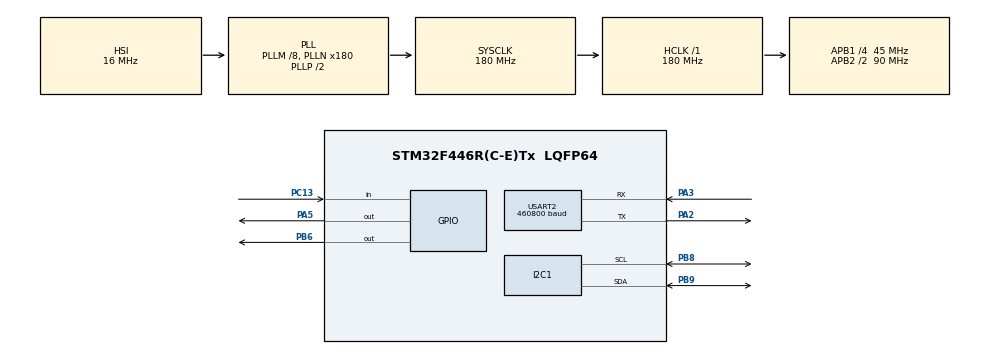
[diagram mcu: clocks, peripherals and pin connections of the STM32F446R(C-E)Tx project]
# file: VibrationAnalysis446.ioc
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Dma.MEMTOMEM.1.Direction=DMA_MEMORY_TO_MEMORY
Dma.MEMTOMEM.1.FIFOMode=DMA_FIFOMODE_ENABLE
Dma.MEMTOMEM.1.FIFOThreshold=DMA_FIFO_THRESHOLD_FULL
Dma.MEMTOMEM.1.Instance=DMA2_Stream0
Dma.MEMTOMEM.1.MemBurst=DMA_MBURST_SINGLE
Dma.MEMTOMEM.1.MemDataAlignment=DMA_MDATAALIGN_BYTE
Dma.MEMTOMEM.1.MemInc=DMA_MINC_ENABLE
Dma.MEMTOMEM.1.Mode=DMA_NORMAL
Dma.MEMTOMEM.1.PeriphBurst=DMA_PBURST_SINGLE
Dma.MEMTOMEM.1.PeriphDataAlignment=DMA_PDATAALIGN_BYTE
Dma.MEMTOMEM.1.PeriphInc=DMA_PINC_ENABLE
Dma.MEMTOMEM.1.Priority=DMA_PRIORITY_LOW
Dma.Request0=USART2_TX
Dma.Request1=MEMTOMEM
Dma.USART2_TX.0.Direction=DMA_MEMORY_TO_PERIPH
Dma.USART2_TX.0.FIFOMode=DMA_FIFOMODE_DISABLE
Dma.USART2_TX.0.Instance=DMA1_Stream6
Dma.USART2_TX.0.MemDataAlignment=DMA_MDATAALIGN_BYTE
Dma.USART2_TX.0.MemInc=DMA_MINC_ENABLE
Dma.USART2_TX.0.Mode=DMA_NORMAL
Dma.USART2_TX.0.PeriphDataAlignment=DMA_PDATAALIGN_BYTE
Dma.USART2_TX.0.PeriphInc=DMA_PINC_DISABLE
Dma.USART2_TX.0.Priority=DMA_PRIORITY_LOW
I2C1.I2C_Mode=I2C_Fast
Mcu.Family=STM32F4
Mcu.Name=STM32F446R(C-E)Tx
Mcu.Package=LQFP64
NVIC.DMA1_Stream6_IRQn=true\:0\:0\:false\:false\:true\:false\:true
NVIC.DMA2_Stream0_IRQn=true\:0\:0\:false\:false\:true\:true\:true
NVIC.PriorityGroup=NVIC_PRIORITYGROUP_4
NVIC.USART2_IRQn=true\:0\:0\:false\:false\:true\:true\:true
PA2.Mode=Asynchronous
PA2.Signal=USART2_TX
PA3.Mode=Asynchronous
PA3.Signal=USART2_RX
PA5.Signal=GPIO_Output
PB6.GPIO_Speed=GPIO_SPEED_FREQ_VERY_HIGH
PB6.Signal=GPIO_Output
PB8.Mode=I2C
PB8.Signal=I2C1_SCL
PB9.Mode=I2C
PB9.Signal=I2C1_SDA
PC13.Signal=GPIO_Input
ProjectManager.HeapSize=0x200
ProjectManager.StackSize=0x400
ProjectManager.TargetToolchain=STM32CubeIDE
RCC.AHBFreq_Value=180000000
RCC.APB1CLKDivider=RCC_HCLK_DIV4
RCC.APB1Freq_Value=45000000
RCC.APB1TimFreq_Value=90000000
RCC.APB2CLKDivider=RCC_HCLK_DIV2
RCC.APB2Freq_Value=90000000
RCC.APB2TimFreq_Value=180000000
RCC.CortexFreq_Value=180000000
RCC.HCLKFreq_Value=180000000
RCC.PLLM=8
RCC.PLLN=180
RCC.SYSCLKFreq_VALUE=180000000
RCC.SYSCLKSource=RCC_SYSCLKSOURCE_PLLCLK
RCC.USBFreq_Value=180000000
RCC.VCOOutputFreq_Value=360000000
TIM2.Prescaler=89
USART2.BaudRate=460800
USART2.VirtualMode=VM_ASYNC
VP_TIM2_VS_ClockSourceINT.Mode=Internal
board=custom

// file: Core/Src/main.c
/* USER CODE BEGIN Header */
/**
  ******************************************************************************
  * @file           : main.c
  * @brief          : Main program body
  ******************************************************************************
  * @attention
  *
  * <h2><center>&copy; Copyright (c) 2020 STMicroelectronics.
  * All rights reserved.</center></h2>
  *
  * This software component is licensed by ST under BSD 3-Clause license,
  * the "License"; You may not use this file except in compliance with the
  * License. You may obtain a copy of the License at:
  *                        opensource.org/licenses/BSD-3-Clause
  *
  ******************************************************************************
  */
/* USER CODE END Header */
#include "main.h"
#include "dma.h"
#include "i2c.h"
#include "tim.h"
#include "usart.h"
#include "gpio.h"

/* USER CODE BEGIN PTD */
typedef union WordByte{
	int16_t Word;
	struct{
		uint8_t LowerByte;
		uint8_t UpperByte;
	};

}WordByte_t;

typedef struct Sample{
	WordByte_t x;
	WordByte_t y;
	WordByte_t z;
	uint32_t micros;
}Sample_t;

typedef enum capturestate{
	CAPTURESTATE_IDLE = 0,
	CAPTURESTATE_CAPTURING,
	CAPTURESTATE_TRIGGERED,
	CAPTURESTATE_TRANSMITTING
}capturestate_t;
/* USER CODE END PTD */

/* USER CODE BEGIN PD */
#define LSM6DS3_ADDRESS            0x6A

#define LSM6DS3_WHO_AM_I_REG       0X0F
#define LSM6DS3_CTRL1_XL           0X10
#define LSM6DS3_CTRL2_G            0X11

#define LSM6DS3_STATUS_REG         0X1E

#define LSM6DS3_CTRL6_C            0X15
#define LSM6DS3_CTRL7_G            0X16
#define LSM6DS3_CTRL8_XL           0X17

#define LSM6DS3_OUTX_L_G           0X22
#define LSM6DS3_OUTX_H_G           0X23
#define LSM6DS3_OUTY_L_G           0X24
#define LSM6DS3_OUTY_H_G           0X25
#define LSM6DS3_OUTZ_L_G           0X26
#define LSM6DS3_OUTZ_H_G           0X27

#define LSM6DS3_OUTX_L_XL          0X28
#define LSM6DS3_OUTX_H_XL          0X29
#define LSM6DS3_OUTY_L_XL          0X2A
#define LSM6DS3_OUTY_H_XL          0X2B
#define LSM6DS3_OUTZ_L_XL          0X2C
#define LSM6DS3_OUTZ_H_XL          0X2D

#define MPU6050_ADDRESS_AD0_LOW     0x68 // address pin low (GND), default for InvenSense evaluation board
#define MPU6050_ADDRESS_AD0_HIGH    0x69 // address pin high (VCC)
#define MPU6050_DEFAULT_ADDRESS     MPU6050_ADDRESS_AD0_LOW

#define MPU6050_RA_XG_OFFS_TC       0x00 //[7] PWR_MODE, [6:1] XG_OFFS_TC, [0] OTP_BNK_VLD
#define MPU6050_RA_YG_OFFS_TC       0x01 //[7] PWR_MODE, [6:1] YG_OFFS_TC, [0] OTP_BNK_VLD
#define MPU6050_RA_ZG_OFFS_TC       0x02 //[7] PWR_MODE, [6:1] ZG_OFFS_TC, [0] OTP_BNK_VLD
#define MPU6050_RA_X_FINE_GAIN      0x03 //[7:0] X_FINE_GAIN
#define MPU6050_RA_Y_FINE_GAIN      0x04 //[7:0] Y_FINE_GAIN
#define MPU6050_RA_Z_FINE_GAIN      0x05 //[7:0] Z_FINE_GAIN
#define MPU6050_RA_XA_OFFS_H        0x06 //[15:0] XA_OFFS
#define MPU6050_RA_XA_OFFS_L_TC     0x07
#define MPU6050_RA_YA_OFFS_H        0x08 //[15:0] YA_OFFS
#define MPU6050_RA_YA_OFFS_L_TC     0x09
#define MPU6050_RA_ZA_OFFS_H        0x0A //[15:0] ZA_OFFS
#define MPU6050_RA_ZA_OFFS_L_TC     0x0B
#define MPU6050_RA_SELF_TEST_X      0x0D //[7:5] XA_TEST[4-2], [4:0] XG_TEST[4-0]
#define MPU6050_RA_SELF_TEST_Y      0x0E //[7:5] YA_TEST[4-2], [4:0] YG_TEST[4-0]
#define MPU6050_RA_SELF_TEST_Z      0x0F //[7:5] ZA_TEST[4-2], [4:0] ZG_TEST[4-0]
#define MPU6050_RA_SELF_TEST_A      0x10 //[5:4] XA_TEST[1-0], [3:2] YA_TEST[1-0], [1:0] ZA_TEST[1-0]
#define MPU6050_RA_XG_OFFS_USRH     0x13 //[15:0] XG_OFFS_USR
#define MPU6050_RA_XG_OFFS_USRL     0x14
#define MPU6050_RA_YG_OFFS_USRH     0x15 //[15:0] YG_OFFS_USR
#define MPU6050_RA_YG_OFFS_USRL     0x16
#define MPU6050_RA_ZG_OFFS_USRH     0x17 //[15:0] ZG_OFFS_USR
#define MPU6050_RA_ZG_OFFS_USRL     0x18
#define MPU6050_RA_SMPLRT_DIV       0x19
#define MPU6050_RA_CONFIG           0x1A
#define MPU6050_RA_GYRO_CONFIG      0x1B
#define MPU6050_RA_ACCEL_CONFIG     0x1C
#define MPU6050_RA_FF_THR           0x1D
#define MPU6050_RA_FF_DUR           0x1E
#define MPU6050_RA_MOT_THR          0x1F
#define MPU6050_RA_MOT_DUR          0x20
#define MPU6050_RA_ZRMOT_THR        0x21
#define MPU6050_RA_ZRMOT_DUR        0x22
#define MPU6050_RA_FIFO_EN          0x23
#define MPU6050_RA_I2C_MST_CTRL     0x24
#define MPU6050_RA_I2C_SLV0_ADDR    0x25
#define MPU6050_RA_I2C_SLV0_REG     0x26
#define MPU6050_RA_I2C_SLV0_CTRL    0x27
#define MPU6050_RA_I2C_SLV1_ADDR    0x28
#define MPU6050_RA_I2C_SLV1_REG     0x29
#define MPU6050_RA_I2C_SLV1_CTRL    0x2A
#define MPU6050_RA_I2C_SLV2_ADDR    0x2B
#define MPU6050_RA_I2C_SLV2_REG     0x2C
#define MPU6050_RA_I2C_SLV2_CTRL    0x2D
#define MPU6050_RA_I2C_SLV3_ADDR    0x2E
#define MPU6050_RA_I2C_SLV3_REG     0x2F
#define MPU6050_RA_I2C_SLV3_CTRL    0x30
#define MPU6050_RA_I2C_SLV4_ADDR    0x31
#define MPU6050_RA_I2C_SLV4_REG     0x32
#define MPU6050_RA_I2C_SLV4_DO      0x33
#define MPU6050_RA_I2C_SLV4_CTRL    0x34
#define MPU6050_RA_I2C_SLV4_DI      0x35
#define MPU6050_RA_I2C_MST_STATUS   0x36
#define MPU6050_RA_INT_PIN_CFG      0x37
#define MPU6050_RA_INT_ENABLE       0x38
#define MPU6050_RA_DMP_INT_STATUS   0x39
#define MPU6050_RA_INT_STATUS       0x3A
#define MPU6050_RA_ACCEL_XOUT_H     0x3B
#define MPU6050_RA_ACCEL_XOUT_L     0x3C
#define MPU6050_RA_ACCEL_YOUT_H     0x3D
#define MPU6050_RA_ACCEL_YOUT_L     0x3E
#define MPU6050_RA_ACCEL_ZOUT_H     0x3F
#define MPU6050_RA_ACCEL_ZOUT_L     0x40
#define MPU6050_RA_TEMP_OUT_H       0x41
#define MPU6050_RA_TEMP_OUT_L       0x42
#define MPU6050_RA_GYRO_XOUT_H      0x43
#define MPU6050_RA_GYRO_XOUT_L      0x44
#define MPU6050_RA_GYRO_YOUT_H      0x45
#define MPU6050_RA_GYRO_YOUT_L      0x46
#define MPU6050_RA_GYRO_ZOUT_H      0x47
#define MPU6050_RA_GYRO_ZOUT_L      0x48
#define MPU6050_RA_EXT_SENS_DATA_00 0x49
#define MPU6050_RA_EXT_SENS_DATA_01 0x4A
#define MPU6050_RA_EXT_SENS_DATA_02 0x4B
#define MPU6050_RA_EXT_SENS_DATA_03 0x4C
#define MPU6050_RA_EXT_SENS_DATA_04 0x4D
#define MPU6050_RA_EXT_SENS_DATA_05 0x4E
#define MPU6050_RA_EXT_SENS_DATA_06 0x4F
#define MPU6050_RA_EXT_SENS_DATA_07 0x50
#define MPU6050_RA_EXT_SENS_DATA_08 0x51
#define MPU6050_RA_EXT_SENS_DATA_09 0x52
#define MPU6050_RA_EXT_SENS_DATA_10 0x53
#define MPU6050_RA_EXT_SENS_DATA_11 0x54
#define MPU6050_RA_EXT_SENS_DATA_12 0x55
#define MPU6050_RA_EXT_SENS_DATA_13 0x56
#define MPU6050_RA_EXT_SENS_DATA_14 0x57
#define MPU6050_RA_EXT_SENS_DATA_15 0x58
#define MPU6050_RA_EXT_SENS_DATA_16 0x59
#define MPU6050_RA_EXT_SENS_DATA_17 0x5A
#define MPU6050_RA_EXT_SENS_DATA_18 0x5B
#define MPU6050_RA_EXT_SENS_DATA_19 0x5C
#define MPU6050_RA_EXT_SENS_DATA_20 0x5D
#define MPU6050_RA_EXT_SENS_DATA_21 0x5E
#define MPU6050_RA_EXT_SENS_DATA_22 0x5F
#define MPU6050_RA_EXT_SENS_DATA_23 0x60
#define MPU6050_RA_MOT_DETECT_STATUS    0x61
#define MPU6050_RA_I2C_SLV0_DO      0x63
#define MPU6050_RA_I2C_SLV1_DO      0x64
#define MPU6050_RA_I2C_SLV2_DO      0x65
#define MPU6050_RA_I2C_SLV3_DO      0x66
#define MPU6050_RA_I2C_MST_DELAY_CTRL   0x67
#define MPU6050_RA_SIGNAL_PATH_RESET    0x68
#define MPU6050_RA_MOT_DETECT_CTRL      0x69
#define MPU6050_RA_USER_CTRL        0x6A
#define MPU6050_RA_PWR_MGMT_1       0x6B
#define MPU6050_RA_PWR_MGMT_2       0x6C
#define MPU6050_RA_BANK_SEL         0x6D
#define MPU6050_RA_MEM_START_ADDR   0x6E
#define MPU6050_RA_MEM_R_W          0x6F
#define MPU6050_RA_DMP_CFG_1        0x70
#define MPU6050_RA_DMP_CFG_2        0x71
#define MPU6050_RA_FIFO_COUNTH      0x72
#define MPU6050_RA_FIFO_COUNTL      0x73
#define MPU6050_RA_FIFO_R_W         0x74
#define MPU6050_RA_WHO_AM_I         0x75

#define MPU6050_SELF_TEST_XA_1_BIT     0x07
#define MPU6050_SELF_TEST_XA_1_LENGTH  0x03
#define MPU6050_SELF_TEST_XA_2_BIT     0x05
#define MPU6050_SELF_TEST_XA_2_LENGTH  0x02
#define MPU6050_SELF_TEST_YA_1_BIT     0x07
#define MPU6050_SELF_TEST_YA_1_LENGTH  0x03
#define MPU6050_SELF_TEST_YA_2_BIT     0x03
#define MPU6050_SELF_TEST_YA_2_LENGTH  0x02
#define MPU6050_SELF_TEST_ZA_1_BIT     0x07
#define MPU6050_SELF_TEST_ZA_1_LENGTH  0x03
#define MPU6050_SELF_TEST_ZA_2_BIT     0x01
#define MPU6050_SELF_TEST_ZA_2_LENGTH  0x02

#define MPU6050_SELF_TEST_XG_1_BIT     0x04
#define MPU6050_SELF_TEST_XG_1_LENGTH  0x05
#define MPU6050_SELF_TEST_YG_1_BIT     0x04
#define MPU6050_SELF_TEST_YG_1_LENGTH  0x05
#define MPU6050_SELF_TEST_ZG_1_BIT     0x04
#define MPU6050_SELF_TEST_ZG_1_LENGTH  0x05

#define MPU6050_TC_PWR_MODE_BIT     7
#define MPU6050_TC_OFFSET_BIT       6
#define MPU6050_TC_OFFSET_LENGTH    6
#define MPU6050_TC_OTP_BNK_VLD_BIT  0

#define MPU6050_VDDIO_LEVEL_VLOGIC  0
#define MPU6050_VDDIO_LEVEL_VDD     1

#define MPU6050_CFG_EXT_SYNC_SET_BIT    5
#define MPU6050_CFG_EXT_SYNC_SET_LENGTH 3
#define MPU6050_CFG_DLPF_CFG_BIT    2
#define MPU6050_CFG_DLPF_CFG_LENGTH 3

#define MPU6050_EXT_SYNC_DISABLED       0x0
#define MPU6050_EXT_SYNC_TEMP_OUT_L     0x1
#define MPU6050_EXT_SYNC_GYRO_XOUT_L    0x2
#define MPU6050_EXT_SYNC_GYRO_YOUT_L    0x3
#define MPU6050_EXT_SYNC_GYRO_ZOUT_L    0x4
#define MPU6050_EXT_SYNC_ACCEL_XOUT_L   0x5
#define MPU6050_EXT_SYNC_ACCEL_YOUT_L   0x6
#define MPU6050_EXT_SYNC_ACCEL_ZOUT_L   0x7

#define MPU6050_DLPF_BW_256         0x00
#define MPU6050_DLPF_BW_188         0x01
#define MPU6050_DLPF_BW_98          0x02
#define MPU6050_DLPF_BW_42          0x03
#define MPU6050_DLPF_BW_20          0x04
#define MPU6050_DLPF_BW_10          0x05
#define MPU6050_DLPF_BW_5           0x06

#define MPU6050_GCONFIG_FS_SEL_BIT      4
#define MPU6050_GCONFIG_FS_SEL_LENGTH   2

#define MPU6050_GYRO_FS_250         0x00
#define MPU6050_GYRO_FS_500         0x01
#define MPU6050_GYRO_FS_1000        0x02
#define MPU6050_GYRO_FS_2000        0x03

#define MPU6050_ACONFIG_XA_ST_BIT           7
#define MPU6050_ACONFIG_YA_ST_BIT           6
#define MPU6050_ACONFIG_ZA_ST_BIT           5
#define MPU6050_ACONFIG_AFS_SEL_BIT         4
#define MPU6050_ACONFIG_AFS_SEL_LENGTH      2
#define MPU6050_ACONFIG_ACCEL_HPF_BIT       2
#define MPU6050_ACONFIG_ACCEL_HPF_LENGTH    3

#define MPU6050_ACCEL_FS_2          0x00
#define MPU6050_ACCEL_FS_4          0x01
#define MPU6050_ACCEL_FS_8          0x02
#define MPU6050_ACCEL_FS_16         0x03

#define MPU6050_DHPF_RESET          0x00
#define MPU6050_DHPF_5              0x01
#define MPU6050_DHPF_2P5            0x02
#define MPU6050_DHPF_1P25           0x03
#define MPU6050_DHPF_0P63           0x04
#define MPU6050_DHPF_HOLD           0x07

#define MPU6050_TEMP_FIFO_EN_BIT    7
#define MPU6050_XG_FIFO_EN_BIT      6
#define MPU6050_YG_FIFO_EN_BIT      5
#define MPU6050_ZG_FIFO_EN_BIT      4
#define MPU6050_ACCEL_FIFO_EN_BIT   3
#define MPU6050_SLV2_FIFO_EN_BIT    2
#define MPU6050_SLV1_FIFO_EN_BIT    1
#define MPU6050_SLV0_FIFO_EN_BIT    0

#define MPU6050_MULT_MST_EN_BIT     7
#define MPU6050_WAIT_FOR_ES_BIT     6
#define MPU6050_SLV_3_FIFO_EN_BIT   5
#define MPU6050_I2C_MST_P_NSR_BIT   4
#define MPU6050_I2C_MST_CLK_BIT     3
#define MPU6050_I2C_MST_CLK_LENGTH  4

#define MPU6050_CLOCK_DIV_348       0x0
#define MPU6050_CLOCK_DIV_333       0x1
#define MPU6050_CLOCK_DIV_320       0x2
#define MPU6050_CLOCK_DIV_308       0x3
#define MPU6050_CLOCK_DIV_296       0x4
#define MPU6050_CLOCK_DIV_286       0x5
#define MPU6050_CLOCK_DIV_276       0x6
#define MPU6050_CLOCK_DIV_267       0x7
#define MPU6050_CLOCK_DIV_258       0x8
#define MPU6050_CLOCK_DIV_500       0x9
#define MPU6050_CLOCK_DIV_471       0xA
#define MPU6050_CLOCK_DIV_444       0xB
#define MPU6050_CLOCK_DIV_421       0xC
#define MPU6050_CLOCK_DIV_400       0xD
#define MPU6050_CLOCK_DIV_381       0xE
#define MPU6050_CLOCK_DIV_364       0xF

#define MPU6050_I2C_SLV_RW_BIT      7
#define MPU6050_I2C_SLV_ADDR_BIT    6
#define MPU6050_I2C_SLV_ADDR_LENGTH 7
#define MPU6050_I2C_SLV_EN_BIT      7
#define MPU6050_I2C_SLV_BYTE_SW_BIT 6
#define MPU6050_I2C_SLV_REG_DIS_BIT 5
#define MPU6050_I2C_SLV_GRP_BIT     4
#define MPU6050_I2C_SLV_LEN_BIT     3
#define MPU6050_I2C_SLV_LEN_LENGTH  4

#define MPU6050_I2C_SLV4_RW_BIT         7
#define MPU6050_I2C_SLV4_ADDR_BIT       6
#define MPU6050_I2C_SLV4_ADDR_LENGTH    7
#define MPU6050_I2C_SLV4_EN_BIT         7
#define MPU6050_I2C_SLV4_INT_EN_BIT     6
#define MPU6050_I2C_SLV4_REG_DIS_BIT    5
#define MPU6050_I2C_SLV4_MST_DLY_BIT    4
#define MPU6050_I2C_SLV4_MST_DLY_LENGTH 5

#define MPU6050_MST_PASS_THROUGH_BIT    7
#define MPU6050_MST_I2C_SLV4_DONE_BIT   6
#define MPU6050_MST_I2C_LOST_ARB_BIT    5
#define MPU6050_MST_I2C_SLV4_NACK_BIT   4
#define MPU6050_MST_I2C_SLV3_NACK_BIT   3
#define MPU6050_MST_I2C_SLV2_NACK_BIT   2
#define MPU6050_MST_I2C_SLV1_NACK_BIT   1
#define MPU6050_MST_I2C_SLV0_NACK_BIT   0

#define MPU6050_INTCFG_INT_LEVEL_BIT        7
#define MPU6050_INTCFG_INT_OPEN_BIT         6
#define MPU6050_INTCFG_LATCH_INT_EN_BIT     5
#define MPU6050_INTCFG_INT_RD_CLEAR_BIT     4
#define MPU6050_INTCFG_FSYNC_INT_LEVEL_BIT  3
#define MPU6050_INTCFG_FSYNC_INT_EN_BIT     2
#define MPU6050_INTCFG_I2C_BYPASS_EN_BIT    1
#define MPU6050_INTCFG_CLKOUT_EN_BIT        0

#define MPU6050_INTMODE_ACTIVEHIGH  0x00
#define MPU6050_INTMODE_ACTIVELOW   0x01

#define MPU6050_INTDRV_PUSHPULL     0x00
#define MPU6050_INTDRV_OPENDRAIN    0x01

#define MPU6050_INTLATCH_50USPULSE  0x00
#define MPU6050_INTLATCH_WAITCLEAR  0x01

#define MPU6050_INTCLEAR_STATUSREAD 0x00
#define MPU6050_INTCLEAR_ANYREAD    0x01

#define MPU6050_INTERRUPT_FF_BIT            7
#define MPU6050_INTERRUPT_MOT_BIT           6
#define MPU6050_INTERRUPT_ZMOT_BIT          5
#define MPU6050_INTERRUPT_FIFO_OFLOW_BIT    4
#define MPU6050_INTERRUPT_I2C_MST_INT_BIT   3
#define MPU6050_INTERRUPT_PLL_RDY_INT_BIT   2
#define MPU6050_INTERRUPT_DMP_INT_BIT       1
#define MPU6050_INTERRUPT_DATA_RDY_BIT      0

// TODO: figure out what these actually do
// UMPL source code is not very obivous
#define MPU6050_DMPINT_5_BIT            5
#define MPU6050_DMPINT_4_BIT            4
#define MPU6050_DMPINT_3_BIT            3
#define MPU6050_DMPINT_2_BIT            2
#define MPU6050_DMPINT_1_BIT            1
#define MPU6050_DMPINT_0_BIT            0

#define MPU6050_MOTION_MOT_XNEG_BIT     7
#define MPU6050_MOTION_MOT_XPOS_BIT     6
#define MPU6050_MOTION_MOT_YNEG_BIT     5
#define MPU6050_MOTION_MOT_YPOS_BIT     4
#define MPU6050_MOTION_MOT_ZNEG_BIT     3
#define MPU6050_MOTION_MOT_ZPOS_BIT     2
#define MPU6050_MOTION_MOT_ZRMOT_BIT    0

#define MPU6050_DELAYCTRL_DELAY_ES_SHADOW_BIT   7
#define MPU6050_DELAYCTRL_I2C_SLV4_DLY_EN_BIT   4
#define MPU6050_DELAYCTRL_I2C_SLV3_DLY_EN_BIT   3
#define MPU6050_DELAYCTRL_I2C_SLV2_DLY_EN_BIT   2
#define MPU6050_DELAYCTRL_I2C_SLV1_DLY_EN_BIT   1
#define MPU6050_DELAYCTRL_I2C_SLV0_DLY_EN_BIT   0

#define MPU6050_PATHRESET_GYRO_RESET_BIT    2
#define MPU6050_PATHRESET_ACCEL_RESET_BIT   1
#define MPU6050_PATHRESET_TEMP_RESET_BIT    0

#define MPU6050_DETECT_ACCEL_ON_DELAY_BIT       5
#define MPU6050_DETECT_ACCEL_ON_DELAY_LENGTH    2
#define MPU6050_DETECT_FF_COUNT_BIT             3
#define MPU6050_DETECT_FF_COUNT_LENGTH          2
#define MPU6050_DETECT_MOT_COUNT_BIT            1
#define MPU6050_DETECT_MOT_COUNT_LENGTH         2

#define MPU6050_DETECT_DECREMENT_RESET  0x0
#define MPU6050_DETECT_DECREMENT_1      0x1
#define MPU6050_DETECT_DECREMENT_2      0x2
#define MPU6050_DETECT_DECREMENT_4      0x3

#define MPU6050_USERCTRL_DMP_EN_BIT             7
#define MPU6050_USERCTRL_FIFO_EN_BIT            6
#define MPU6050_USERCTRL_I2C_MST_EN_BIT         5
#define MPU6050_USERCTRL_I2C_IF_DIS_BIT         4
#define MPU6050_USERCTRL_DMP_RESET_BIT          3
#define MPU6050_USERCTRL_FIFO_RESET_BIT         2
#define MPU6050_USERCTRL_I2C_MST_RESET_BIT      1
#define MPU6050_USERCTRL_SIG_COND_RESET_BIT     0

#define MPU6050_PWR1_DEVICE_RESET_BIT   7
#define MPU6050_PWR1_SLEEP_BIT          6
#define MPU6050_PWR1_CYCLE_BIT          5
#define MPU6050_PWR1_TEMP_DIS_BIT       3
#define MPU6050_PWR1_CLKSEL_BIT         2
#define MPU6050_PWR1_CLKSEL_LENGTH      3

#define MPU6050_CLOCK_INTERNAL          0x00
#define MPU6050_CLOCK_PLL_XGYRO         0x01
#define MPU6050_CLOCK_PLL_YGYRO         0x02
#define MPU6050_CLOCK_PLL_ZGYRO         0x03
#define MPU6050_CLOCK_PLL_EXT32K        0x04
#define MPU6050_CLOCK_PLL_EXT19M        0x05
#define MPU6050_CLOCK_KEEP_RESET        0x07

#define MPU6050_PWR2_LP_WAKE_CTRL_BIT       7
#define MPU6050_PWR2_LP_WAKE_CTRL_LENGTH    2
#define MPU6050_PWR2_STBY_XA_BIT            5
#define MPU6050_PWR2_STBY_YA_BIT            4
#define MPU6050_PWR2_STBY_ZA_BIT            3
#define MPU6050_PWR2_STBY_XG_BIT            2
#define MPU6050_PWR2_STBY_YG_BIT            1
#define MPU6050_PWR2_STBY_ZG_BIT            0

#define MPU6050_WAKE_FREQ_1P25      0x0
#define MPU6050_WAKE_FREQ_2P5       0x1
#define MPU6050_WAKE_FREQ_5         0x2
#define MPU6050_WAKE_FREQ_10        0x3

#define MPU6050_BANKSEL_PRFTCH_EN_BIT       6
#define MPU6050_BANKSEL_CFG_USER_BANK_BIT   5
#define MPU6050_BANKSEL_MEM_SEL_BIT         4
#define MPU6050_BANKSEL_MEM_SEL_LENGTH      5

#define MPU6050_WHO_AM_I_BIT        6
#define MPU6050_WHO_AM_I_LENGTH     6

#define MPU6050_DMP_MEMORY_BANKS        8
#define MPU6050_DMP_MEMORY_BANK_SIZE    256
#define MPU6050_DMP_MEMORY_CHUNK_SIZE   16

#define SAMPLECOUNT 2000
/* USER CODE END PD */

/* USER CODE BEGIN PV */

volatile uint8_t intTriggered = 0;
volatile uint8_t i2cRecComplete = 0;
volatile uint8_t uartTxComplete = 1;
volatile uint8_t dmaTransferComplete = 0;
volatile uint8_t capturestate = CAPTURESTATE_IDLE;
volatile uint8_t uartByteReceived = 0;
uint8_t uartByte;
uint32_t currtimerval = 0;
uint32_t prevtimerval = 0;
uint32_t loopcount = 0;
uint8_t buffer[50];
Sample_t data[SAMPLECOUNT];
uint8_t recdata[6];
uint16_t n;
uint8_t statusbuff = 1;
uint8_t dataavailable = 0;
uint16_t writeptr = 0;
/* USER CODE END PV */

void SystemClock_Config(void);
/* USER CODE BEGIN PFP */
void HAL_GPIO_EXTI_Callback(uint16_t GPIO_Pin);
void HAL_I2C_MasterRxCpltCallback(I2C_HandleTypeDef *hi2c);
void HAL_UART_TxCpltCallback(UART_HandleTypeDef *huart);
void HAL_UART_RxCpltCallback(UART_HandleTypeDef *huart);
void DMATransferCompleteCallback(DMA_HandleTypeDef *hdma);
/* USER CODE END PFP */

int main(void)
{
  /* USER CODE BEGIN 1 */

	uint16_t lsmaddr = LSM6DS3_ADDRESS << 1;
	uint16_t mpu6050addr = MPU6050_ADDRESS_AD0_LOW << 1;
	int16_t x_val = 0;
	int16_t y_val = 0;
	int16_t z_val = 0;
	uint16_t datasize = sizeof(data);
	Sample_t transmitdata[SAMPLECOUNT];
  /* USER CODE END 1 */

  /* MCU Configuration--------------------------------------------------------*/

  /* Reset of all peripherals, Initializes the Flash interface and the Systick. */
  HAL_Init();

  /* Configure the system clock */
  SystemClock_Config();

  /* Initialize all configured peripherals */
  MX_GPIO_Init();
  MX_DMA_Init();
  MX_I2C1_Init();
  MX_USART2_UART_Init();
  MX_TIM2_Init();
  /* USER CODE BEGIN 2 */
  HAL_GPIO_WritePin(GPIOA, GPIO_PIN_5, GPIO_PIN_SET);
  HAL_I2C_Mem_Read(&hi2c1, mpu6050addr, MPU6050_RA_PWR_MGMT_1, 1, &statusbuff, 1, 1000);
  HAL_I2C_Mem_Write(&hi2c1, mpu6050addr, MPU6050_RA_PWR_MGMT_1, 1, 0b00000000, 1, 1000); //wake from sleep
  HAL_I2C_Mem_Read(&hi2c1, mpu6050addr, MPU6050_RA_PWR_MGMT_1, 1, &statusbuff, 1, 1000);
  HAL_I2C_Mem_Read(&hi2c1, mpu6050addr, MPU6050_RA_WHO_AM_I, 1, &statusbuff, 1, 1000);
  HAL_I2C_Mem_Write(&hi2c1, mpu6050addr, MPU6050_RA_PWR_MGMT_1, 1, 0b10000000, 1, 1000); //reset device
  HAL_Delay(200);
  HAL_I2C_Mem_Read(&hi2c1, mpu6050addr, MPU6050_RA_PWR_MGMT_1, 1, &statusbuff, 1, 1000);
  HAL_I2C_Mem_Write(&hi2c1, mpu6050addr, MPU6050_RA_SIGNAL_PATH_RESET, 1, 0b00000111, 1, 1000); //reset signal path
  HAL_Delay(100);
  HAL_I2C_Mem_Write(&hi2c1, mpu6050addr, MPU6050_RA_PWR_MGMT_1, 1, 0b00000001, 1, 1000); //disable sleep, set clock to gyrx
  HAL_Delay(100);
  HAL_I2C_Mem_Read(&hi2c1, mpu6050addr, MPU6050_RA_PWR_MGMT_1, 1, &statusbuff, 1, 1000);
  HAL_Delay(100);
  HAL_I2C_Mem_Write(&hi2c1, mpu6050addr, MPU6050_RA_GYRO_CONFIG, 1, 0b00000000, 1, 1000); //gyro FS 250°/s
  HAL_Delay(100);
  HAL_I2C_Mem_Write(&hi2c1, mpu6050addr, MPU6050_RA_ACCEL_CONFIG, 1, 0b00011000, 1, 1000); //accel FS 2g
  HAL_Delay(100);
  HAL_I2C_Mem_Write(&hi2c1, mpu6050addr, MPU6050_RA_CONFIG, 1, 0b00000001, 1, 1000); //enable DLPF
  HAL_Delay(100);
  HAL_I2C_Mem_Write(&hi2c1, mpu6050addr, MPU6050_RA_SMPLRT_DIV, 1, 0b00000111, 1, 1000); //gyro samplerate 1khz
  HAL_Delay(100);
  HAL_I2C_Mem_Write(&hi2c1, mpu6050addr, MPU6050_RA_INT_PIN_CFG, 1, 0b00010000, 1, 1000); //int act H, PP, latch, CLR any
  HAL_Delay(100);
  HAL_I2C_Mem_Write(&hi2c1, mpu6050addr, MPU6050_RA_INT_ENABLE, 1, 0b00000001, 1, 1000); //enable data rdy int
  HAL_Delay(100);
  HAL_GPIO_WritePin(GPIOA, GPIO_PIN_5, GPIO_PIN_RESET);

  //HAL_NVIC_EnableIRQ(EXTI9_5_IRQn); //enable interrupt
  HAL_TIM_Base_Start(&htim2);
  HAL_DMA_RegisterCallback(&hdma_memtomem_dma2_stream0,HAL_DMA_XFER_CPLT_CB_ID , &DMATransferCompleteCallback);
  HAL_UART_Receive_IT(&huart2, &uartByte, 1);
  /* USER CODE END 2 */

  /* Infinite loop */
  /* USER CODE BEGIN WHILE */
  while (1)
  {
	  switch(capturestate)
	  {
	  case CAPTURESTATE_IDLE:
		  if(uartByteReceived)
		  {
			  if(uartByte == 's')
			  {
				  capturestate = CAPTURESTATE_CAPTURING;
				  HAL_GPIO_WritePin(GPIOA, GPIO_PIN_5, GPIO_PIN_SET);
				  __HAL_TIM_SET_COUNTER(&htim2, 0);
			  }
			  uartByteReceived = 0;
		  }
		  break;
	  case CAPTURESTATE_CAPTURING:
		  HAL_I2C_Mem_Read(&hi2c1, mpu6050addr, MPU6050_RA_INT_STATUS, 1, &statusbuff, 1, HAL_MAX_DELAY);
	  	  if(statusbuff & 0b00000001)
	  	  {
	  		  currtimerval = __HAL_TIM_GET_COUNTER(&htim2);
	  		  HAL_I2C_Mem_Read(&hi2c1, mpu6050addr, MPU6050_RA_INT_STATUS, 1, &statusbuff, 1, HAL_MAX_DELAY);
	  		  HAL_I2C_Mem_Read(&hi2c1, mpu6050addr, MPU6050_RA_ACCEL_XOUT_H, 1, recdata, 6, HAL_MAX_DELAY);
	  		  data[writeptr].x.LowerByte = recdata[1];
	  		  data[writeptr].x.UpperByte = recdata[0];
	  		  data[writeptr].y.LowerByte = recdata[3];
	  		  data[writeptr].y.UpperByte = recdata[2];
	  		  data[writeptr].z.LowerByte = recdata[5];
	  		  data[writeptr].z.UpperByte = recdata[4];
	  		  data[writeptr].micros = currtimerval;
	  		  writeptr++;
	  		  if(writeptr >= SAMPLECOUNT)
	  		  {
	  			  writeptr = 0;
	  			  capturestate = CAPTURESTATE_TRIGGERED;
	  		  }
	  	  }
		  break;
	  case CAPTURESTATE_TRIGGERED:
		  capturestate = CAPTURESTATE_TRANSMITTING;
		  break;
	  case CAPTURESTATE_TRANSMITTING:
		  n = sprintf(buffer, "Start\n");
		  HAL_UART_Transmit(&huart2, buffer, n, HAL_MAX_DELAY);
		  for(int i = 0; i<SAMPLECOUNT ; i++)
	  		  {
	  			  while(!uartTxComplete)
	  			  {
	  			  }
	  			  n = sprintf(buffer, "%u,%d,%d,%d\n",data[i].micros, data[i].x.Word, data[i].y.Word, data[i].z.Word);
	  			  HAL_UART_Transmit_DMA(&huart2, buffer, n);
	  			  uartTxComplete = 0;
	  		  }
		  HAL_Delay(100);
		  n = sprintf(buffer, "Stop\n");
		  HAL_UART_Transmit(&huart2, buffer, n, HAL_MAX_DELAY);
		  capturestate = CAPTURESTATE_IDLE;
		  HAL_GPIO_WritePin(GPIOA, GPIO_PIN_5, GPIO_PIN_RESET);
		  break;
	  default:
		  break;
	  }

    /* USER CODE END WHILE */

  }
}

void SystemClock_Config(void)
{
  RCC_OscInitTypeDef RCC_OscInitStruct = {0};
  RCC_ClkInitTypeDef RCC_ClkInitStruct = {0};

  /** Configure the main internal regulator output voltage
  */
  __HAL_RCC_PWR_CLK_ENABLE();
  __HAL_PWR_VOLTAGESCALING_CONFIG(PWR_REGULATOR_VOLTAGE_SCALE1);
  /** Initializes the RCC Oscillators according to the specified parameters
  * in the RCC_OscInitTypeDef structure.
  */
  RCC_OscInitStruct.OscillatorType = RCC_OSCILLATORTYPE_HSI;
  RCC_OscInitStruct.HSIState = RCC_HSI_ON;
  RCC_OscInitStruct.HSICalibrationValue = RCC_HSICALIBRATION_DEFAULT;
  RCC_OscInitStruct.PLL.PLLState = RCC_PLL_ON;
  RCC_OscInitStruct.PLL.PLLSource = RCC_PLLSOURCE_HSI;
  RCC_OscInitStruct.PLL.PLLM = 8;
  RCC_OscInitStruct.PLL.PLLN = 180;
  RCC_OscInitStruct.PLL.PLLP = RCC_PLLP_DIV2;
  RCC_OscInitStruct.PLL.PLLQ = 2;
  RCC_OscInitStruct.PLL.PLLR = 2;
  if (HAL_RCC_OscConfig(&RCC_OscInitStruct) != HAL_OK)
  {
    Error_Handler();
  }
  /** Activate the Over-Drive mode
  */
  if (HAL_PWREx_EnableOverDrive() != HAL_OK)
  {
    Error_Handler();
  }
  /** Initializes the CPU, AHB and APB buses clocks
  */
  RCC_ClkInitStruct.ClockType = RCC_CLOCKTYPE_HCLK|RCC_CLOCKTYPE_SYSCLK
                              |RCC_CLOCKTYPE_PCLK1|RCC_CLOCKTYPE_PCLK2;
  RCC_ClkInitStruct.SYSCLKSource = RCC_SYSCLKSOURCE_PLLCLK;
  RCC_ClkInitStruct.AHBCLKDivider = RCC_SYSCLK_DIV1;
  RCC_ClkInitStruct.APB1CLKDivider = RCC_HCLK_DIV4;
  RCC_ClkInitStruct.APB2CLKDivider = RCC_HCLK_DIV2;

  if (HAL_RCC_ClockConfig(&RCC_ClkInitStruct, FLASH_LATENCY_5) != HAL_OK)
  {
    Error_Handler();
  }
}

/* USER CODE BEGIN 4 */
void HAL_GPIO_EXTI_Callback(uint16_t GPIO_Pin)
{
	if(GPIO_Pin == GPIO_PIN_7)
	{
		intTriggered = 1;
	}
}
void HAL_I2C_MasterRxCpltCallback(I2C_HandleTypeDef *hi2c)
{
	i2cRecComplete = 1;
}
void HAL_UART_TxCpltCallback(UART_HandleTypeDef *huart)
{
	uartTxComplete = 1;
}

void HAL_UART_RxCpltCallback(UART_HandleTypeDef *huart)
{
	uartByteReceived = 1;
	HAL_UART_Receive_IT(&huart2, &uartByte, 1);
}
void DMATransferCompleteCallback(DMA_HandleTypeDef *hdma)
{
	dmaTransferComplete = 1;
}
/* USER CODE END 4 */

void Error_Handler(void)
{
}

/************************ (C) COPYRIGHT STMicroelectronics *****END OF FILE****/
